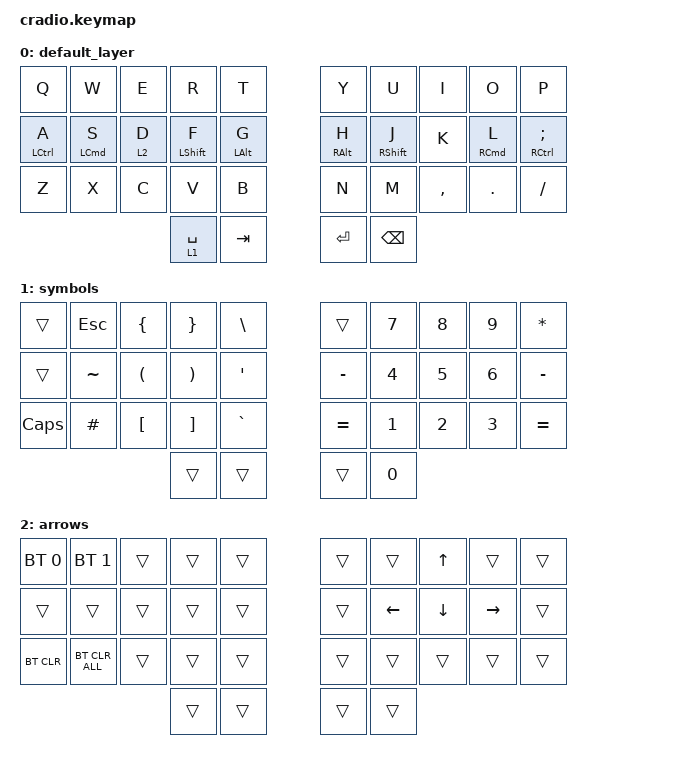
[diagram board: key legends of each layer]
// Copyright (c) 2022 The ZMK Contributors
// SPDX-License-Identifier: MIT

#include <behaviors.dtsi>
#include <dt-bindings/zmk/bt.h>
#include <dt-bindings/zmk/keys.h>

// Home row mods macro

#define HRML(k1,k2,k3,k4) &ht LSHFT k1  &ht LALT k2  &ht LCTRL k3  &ht LGUI k4
#define HRMR(k1,k2,k3,k4) &ht RGUI k1  &ht RCTRL k2  &ht RALT k3  &ht RSHFT k4

/ {
    behaviors {
        ht: hold_tap {
            compatible = "zmk,behavior-hold-tap";
            #binding-cells = <2>;
            flavor = "tap-preferred";
            tapping-term-ms = <250>;
            quick-tap-ms = <200>;
            require-prior-idle-ms = <100>;
            bindings = <&kp>, <&kp>;
        };
    };

    conditional_layers { compatible = "zmk,conditional-layers"; };

    keymap {
        compatible = "zmk,keymap";

        default_layer {
            bindings = <
&kp Q        &kp W       &kp E    &kp R         &kp T         &kp Y       &kp U          &kp I      &kp O       &kp P
&ht LCTRL A  &ht LCMD S  &lt 2 D  &ht LSHIFT F  &ht LALT G    &ht RALT H  &ht RSHIFT J   &kp K      &ht RCMD L  &ht RCTRL SEMI
&kp Z        &kp X       &kp C    &kp V         &kp B         &kp N       &kp M          &kp COMMA  &kp PERIOD  &kp SLASH
                                  &lt 1 SPACE   &kp TAB       &kp ENTER   &kp BACKSPACE
            >;
        };

        symbols {
            bindings = <
&trans        &kp ESCAPE  &kp LEFT_BRACE        &kp RIGHT_BRACE        &kp BACKSLASH    &trans     &kp N7        &kp N8        &kp N9        &kp ASTERISK
&trans        &kp TILDE   &kp LEFT_PARENTHESIS  &kp RIGHT_PARENTHESIS  &kp SQT          &kp MINUS  &kp NUMBER_4  &kp N5        &kp NUMBER_6  &kp MINUS
&kp CAPSLOCK  &kp HASH    &kp LEFT_BRACKET      &kp RBKT               &kp GRAVE        &kp EQUAL  &kp NUMBER_1  &kp NUMBER_2  &kp NUMBER_3  &kp EQUAL
                                                &trans                 &trans           &trans     &kp N0
            >;
        };

        arrows {
            bindings = <
&bt BT_SEL 0  &bt BT_SEL 1    &trans  &trans  &trans    &trans  &trans          &kp UP_ARROW    &trans           &trans
&trans        &trans          &trans  &trans  &trans    &trans  &kp LEFT_ARROW  &kp DOWN_ARROW  &kp RIGHT_ARROW  &trans
&bt BT_CLR    &bt BT_CLR_ALL  &trans  &trans  &trans    &trans  &trans          &trans          &trans           &trans
                                      &trans  &trans    &trans  &trans
            >;
        };
    };
};
